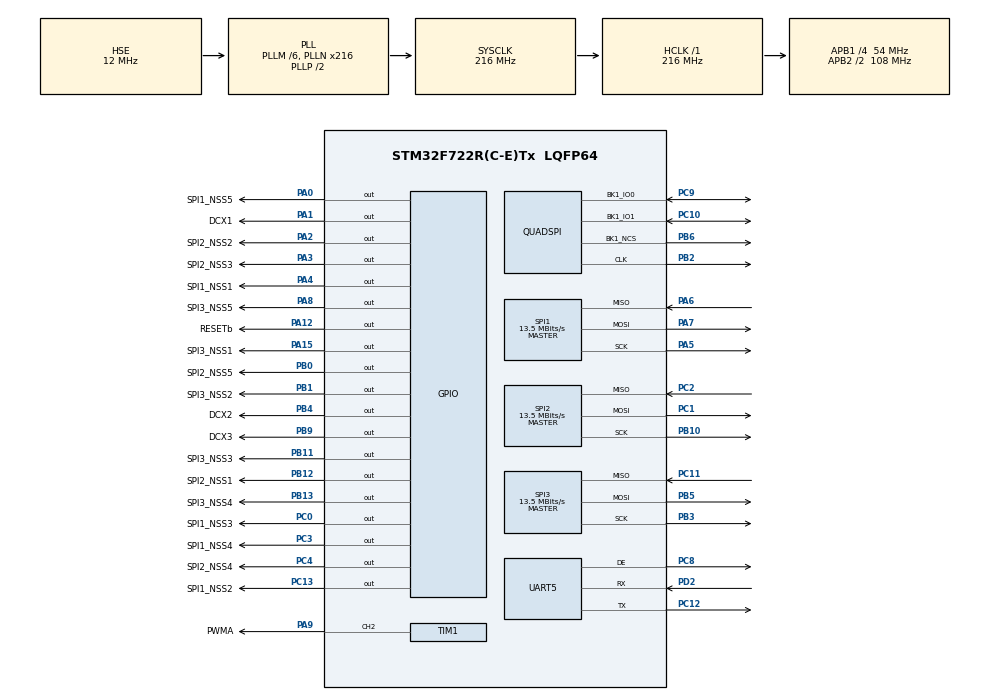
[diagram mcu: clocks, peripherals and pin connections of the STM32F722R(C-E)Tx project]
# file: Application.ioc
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CORTEX_M7.ART_ACCLERATOR_ENABLE=1
CORTEX_M7.CPU_DCache=Enabled
CORTEX_M7.CPU_ICache=Enabled
CORTEX_M7.PREFETCH_ENABLE=1
FREERTOS.Tasks01=TouchgfxTask,24,4096,StartTouchgfxTask,Default,NULL,Dynamic,NULL,NULL
FREERTOS.configTOTAL_HEAP_SIZE=65536
FREERTOS.configUSE_APPLICATION_TASK_TAG=1
FREERTOS.configUSE_IDLE_HOOK=1
FREERTOS.configUSE_NEWLIB_REENTRANT=1
FREERTOS.configUSE_TICK_HOOK=1
Mcu.Family=STM32F7
Mcu.Name=STM32F722R(C-E)Tx
Mcu.Package=LQFP64
NVIC.PriorityGroup=NVIC_PRIORITYGROUP_4
NVIC.SPI1_IRQn=true\:5\:0\:true\:false\:true\:true\:true\:true
NVIC.SPI2_IRQn=true\:5\:0\:false\:false\:true\:true\:true\:true
NVIC.SPI3_IRQn=true\:5\:0\:false\:false\:true\:true\:true\:true
NVIC.TIM6_DAC_IRQn=true\:15\:0\:false\:false\:true\:false\:false\:true
NVIC.TIM7_IRQn=true\:5\:0\:true\:false\:true\:true\:true\:true
NVIC.TIM8_BRK_TIM12_IRQn=true\:5\:0\:false\:false\:true\:true\:true\:true
NVIC.TimeBase=TIM6_DAC_IRQn
NVIC.TimeBaseIP=TIM6
NVIC.UART5_IRQn=true\:5\:0\:false\:false\:true\:true\:true\:true
PA0-WKUP.GPIO_Label=SPI1_NSS5
PA0-WKUP.PinState=GPIO_PIN_SET
PA0-WKUP.Signal=GPIO_Output
PA1.GPIO_Label=DCX1
PA1.Signal=GPIO_Output
PA12.GPIO_Label=RESETb
PA12.Signal=GPIO_Output
PA13.Mode=Serial_Wire
PA13.Signal=SYS_JTMS-SWDIO
PA14.Mode=Serial_Wire
PA14.Signal=SYS_JTCK-SWCLK
PA15.GPIO_Label=SPI3_NSS1
PA15.PinState=GPIO_PIN_SET
PA15.Signal=GPIO_Output
PA2.GPIO_Label=SPI2_NSS2
PA2.PinState=GPIO_PIN_SET
PA2.Signal=GPIO_Output
PA3.GPIO_Label=SPI2_NSS3
PA3.PinState=GPIO_PIN_SET
PA3.Signal=GPIO_Output
PA4.GPIO_Label=SPI1_NSS1
PA4.GPIO_Speed=GPIO_SPEED_FREQ_LOW
PA4.PinState=GPIO_PIN_SET
PA4.Signal=GPIO_Output
PA5.Mode=Full_Duplex_Master
PA5.Signal=SPI1_SCK
PA6.Mode=Full_Duplex_Master
PA6.Signal=SPI1_MISO
PA7.Mode=Full_Duplex_Master
PA7.Signal=SPI1_MOSI
PA8.GPIO_Label=SPI3_NSS5
PA8.PinState=GPIO_PIN_SET
PA8.Signal=GPIO_Output
PA9.GPIO_Label=PWMA
PA9.Signal=S_TIM1_CH2
PB0.GPIO_Label=SPI2_NSS5
PB0.PinState=GPIO_PIN_SET
PB0.Signal=GPIO_Output
PB1.GPIO_Label=SPI3_NSS2
PB1.PinState=GPIO_PIN_SET
PB1.Signal=GPIO_Output
PB10.Mode=Full_Duplex_Master
PB10.Signal=SPI2_SCK
PB11.GPIO_Label=SPI3_NSS3
PB11.PinState=GPIO_PIN_SET
PB11.Signal=GPIO_Output
PB12.GPIO_Label=SPI2_NSS1
PB12.PinState=GPIO_PIN_SET
PB12.Signal=GPIO_Output
PB13.GPIO_Label=SPI3_NSS4
PB13.PinState=GPIO_PIN_SET
PB13.Signal=GPIO_Output
PB2.Mode=Single Bank 1 2IOs
PB2.Signal=QUADSPI_CLK
PB3.Mode=Full_Duplex_Master
PB3.Signal=SPI3_SCK
PB4.GPIO_Label=DCX2
PB4.Signal=GPIO_Output
PB5.Mode=Full_Duplex_Master
PB5.Signal=SPI3_MOSI
PB6.GPIO_FM6=SYSCFG_PMC_I2C_PB6_FMP
PB6.Mode=Single Bank 1 2IOs
PB6.Signal=QUADSPI_BK1_NCS
PB9.GPIO_FM9=SYSCFG_PMC_I2C_PB9_FMP
PB9.GPIO_Label=DCX3
PB9.Signal=GPIO_Output
PC0.GPIO_Label=SPI1_NSS3
PC0.PinState=GPIO_PIN_SET
PC0.Signal=GPIO_Output
PC1.Mode=Full_Duplex_Master
PC1.Signal=SPI2_MOSI
PC10.Mode=Single Bank 1 2IOs
PC10.Signal=QUADSPI_BK1_IO1
PC11.Mode=Full_Duplex_Master
PC11.Signal=SPI3_MISO
PC12.Mode=Asynchronous
PC12.Signal=UART5_TX
PC13.GPIO_Label=SPI1_NSS2
PC13.PinState=GPIO_PIN_SET
PC13.Signal=GPIO_Output
PC14-OSC32_IN.Mode=LSE-External-Oscillator
PC14-OSC32_IN.Signal=RCC_OSC32_IN
PC15-OSC32_OUT.Mode=LSE-External-Oscillator
PC15-OSC32_OUT.Signal=RCC_OSC32_OUT
PC2.Mode=Full_Duplex_Master
PC2.Signal=SPI2_MISO
PC3.GPIO_Label=SPI1_NSS4
PC3.PinState=GPIO_PIN_SET
PC3.Signal=GPIO_Output
PC4.GPIO_Label=SPI2_NSS4
PC4.GPIO_Speed=GPIO_SPEED_FREQ_LOW
PC4.PinState=GPIO_PIN_SET
PC4.Signal=GPIO_Output
PC8.Mode=Hardware Flow Control (RS485)
PC8.Signal=UART5_DE
PC9.Mode=Single Bank 1 2IOs
PC9.Signal=QUADSPI_BK1_IO0
PD2.Mode=Asynchronous
PD2.Signal=UART5_RX
PH0-OSC_IN.Mode=HSE-External-Oscillator
PH0-OSC_IN.Signal=RCC_OSC_IN
PH1-OSC_OUT.Mode=HSE-External-Oscillator
PH1-OSC_OUT.Signal=RCC_OSC_OUT
ProjectManager.HeapSize=0x200
ProjectManager.StackSize=0x400
ProjectManager.TargetToolchain=STM32CubeIDE
QUADSPI.ClockPrescaler=100
QUADSPI.SampleShifting=QSPI_SAMPLE_SHIFTING_NONE
RCC.AHBFreq_Value=216000000
RCC.APB1CLKDivider=RCC_HCLK_DIV4
RCC.APB1Freq_Value=54000000
RCC.APB1TimFreq_Value=108000000
RCC.APB2CLKDivider=RCC_HCLK_DIV2
RCC.APB2Freq_Value=108000000
RCC.APB2TimFreq_Value=216000000
RCC.CortexFreq_Value=216000000
RCC.HCLKFreq_Value=216000000
RCC.HSE_VALUE=12000000
RCC.HSI_VALUE=16000000
RCC.PLLM=6
RCC.PLLN=216
RCC.PLLSourceVirtual=RCC_PLLSOURCE_HSE
RCC.PWREXT_OverDrive=PWREXT_OverDrive_ACTIVATED
RCC.PWR_Regulator_Voltage_Scale=PWR_REGULATOR_VOLTAGE_SCALE1
RCC.SYSCLKFreq_VALUE=216000000
RCC.SYSCLKSource=RCC_SYSCLKSOURCE_PLLCLK
RCC.USBFreq_Value=216000000
RCC.VCOOutputFreq_Value=432000000
SH.S_TIM1_CH2.0=TIM1_CH2,PWM Generation2 CH2
SPI1.BaudRatePrescaler=SPI_BAUDRATEPRESCALER_8
SPI1.CalculateBaudRate=13.5 MBits/s
SPI1.DataSize=SPI_DATASIZE_8BIT
SPI1.Direction=SPI_DIRECTION_2LINES
SPI1.Mode=SPI_MODE_MASTER
SPI1.VirtualType=VM_MASTER
SPI2.BaudRatePrescaler=SPI_BAUDRATEPRESCALER_4
SPI2.CalculateBaudRate=13.5 MBits/s
SPI2.DataSize=SPI_DATASIZE_8BIT
SPI2.Direction=SPI_DIRECTION_2LINES
SPI2.Mode=SPI_MODE_MASTER
SPI2.VirtualType=VM_MASTER
SPI3.BaudRatePrescaler=SPI_BAUDRATEPRESCALER_4
SPI3.CalculateBaudRate=13.5 MBits/s
SPI3.DataSize=SPI_DATASIZE_8BIT
SPI3.Direction=SPI_DIRECTION_2LINES
SPI3.Mode=SPI_MODE_MASTER
SPI3.VirtualType=VM_MASTER
STMicroelectronics.X-CUBE-TOUCHGFX.4.16.1.ApplicationCcGraphicsJjApplication=TouchGFXOoGenerator
STMicroelectronics.X-CUBE-TOUCHGFX.4.16.1.tgfx_buffering_strategy=Partial
STMicroelectronics.X-CUBE-TOUCHGFX.4.16.1.tgfx_custom_height=80
STMicroelectronics.X-CUBE-TOUCHGFX.4.16.1.tgfx_custom_width=160
STMicroelectronics.X-CUBE-TOUCHGFX.4.16.1.tgfx_pixel_format=RGB565\:16
TIM1.Channel-PWM\ Generation2\ CH2=TIM_CHANNEL_2
TIM1.OCPolarity_2=TIM_OCPOLARITY_LOW
TIM1.Period=100-1
TIM1.Prescaler=1080-1
TIM12.Period=65535
TIM7.Period=500-1
TIM7.Prescaler=1800-1
VP_CRC_VS_CRC.Mode=CRC_Activate
VP_FREERTOS_VS_CMSIS_V2.Mode=CMSIS_V2
VP_STMicroelectronics.X-CUBE-TOUCHGFX_VS_GraphicsJjApplication_4.16.1.Mode=GraphicsJjApplication
VP_SYS_VS_tim6.Mode=TIM6
VP_TIM12_VS_ClockSourceINT.Mode=Internal
VP_TIM1_VS_ClockSourceINT.Mode=Internal
VP_TIM7_VS_ClockSourceINT.Mode=Enable_Timer
board=custom

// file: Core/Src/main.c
/* USER CODE BEGIN Header */
/**
  ******************************************************************************
  * @file           : main.c
  * @brief          : Main program body
  ******************************************************************************
  * @attention
  *
  * <h2><center>&copy; Copyright (c) 2022 STMicroelectronics.
  * All rights reserved.</center></h2>
  *
  * This software component is licensed by ST under Ultimate Liberty license
  * SLA0044, the "License"; You may not use this file except in compliance with
  * the License. You may obtain a copy of the License at:
  *                             www.st.com/SLA0044
  *
  ******************************************************************************
  */
/* USER CODE END Header */
#include "main.h"
#include "cmsis_os.h"
#include "app_touchgfx.h"

/* USER CODE BEGIN Includes */
#include "BSP/Panel/ST7735S.h"
#include "ExHardware.h"

/* USER CODE END Includes */

/* USER CODE BEGIN PTD */
extern uint8_t pucByte;
/* USER CODE END PTD */

CRC_HandleTypeDef hcrc;

QSPI_HandleTypeDef hqspi;

SPI_HandleTypeDef hspi1;
SPI_HandleTypeDef hspi2;
SPI_HandleTypeDef hspi3;

TIM_HandleTypeDef htim1;
TIM_HandleTypeDef htim7;
TIM_HandleTypeDef htim12;

UART_HandleTypeDef huart5;

/* Definitions for TouchgfxTask */
osThreadId_t TouchgfxTaskHandle;
const osThreadAttr_t TouchgfxTask_attributes = {
  .name = "TouchgfxTask",
  .stack_size = 4096 * 4,
  .priority = (osPriority_t) osPriorityNormal,
};

void SystemClock_Config(void);
static void MX_GPIO_Init(void);
static void MX_CRC_Init(void);
static void MX_QUADSPI_Init(void);
static void MX_SPI1_Init(void);
static void MX_TIM7_Init(void);
static void MX_TIM12_Init(void);
static void MX_UART5_Init(void);
static void MX_TIM1_Init(void);
static void MX_SPI2_Init(void);
static void MX_SPI3_Init(void);
void StartTouchgfxTask(void *argument);

/* USER CODE BEGIN 0 */

#ifdef __GNUC__
/* With GCC, small printf (option LD Linker->Libraries->Small printf
   set to 'Yes') calls __io_putchar() */
#define PUTCHAR_PROTOTYPE int __io_putchar(int ch)
#else
#define PUTCHAR_PROTOTYPE int fputc(int ch, FILE *f)
#endif /* __GNUC__ */

/**
  * @brief  Retargets the C library printf function to the USART.
  * @param  None
  * @retval None
  */
#if 1
PUTCHAR_PROTOTYPE
{
  /* Place your implementation of fputc here */
  /* e.g. write a character to the EVAL_COM1 and Loop until the end of transmission */
  HAL_UART_Transmit(&huart5, (uint8_t *)&ch, 1, 0xFFFF);

  return ch;
}
#endif

/* USER CODE END 0 */

int main(void)
{

  /* Enable I-Cache---------------------------------------------------------*/
  SCB_EnableICache();

  /* Enable D-Cache---------------------------------------------------------*/
  SCB_EnableDCache();

  /* MCU Configuration--------------------------------------------------------*/

  /* Reset of all peripherals, Initializes the Flash interface and the Systick. */
  HAL_Init();

  /* Configure the system clock */
  SystemClock_Config();

  /* Initialize all configured peripherals */
  MX_GPIO_Init();
  MX_CRC_Init();
  MX_QUADSPI_Init();
  MX_SPI1_Init();
  MX_TIM7_Init();
  MX_TIM12_Init();
  MX_UART5_Init();
  MX_TIM1_Init();
  MX_SPI2_Init();
  MX_SPI3_Init();
  MX_TouchGFX_Init();
  /* USER CODE BEGIN 2 */

  uint8_t test = 6;
  HAL_UART_Receive_IT(&huart5, &pucByte, 1);
  HAL_GPIO_WritePin( GPIOC, GPIO_PIN_8, GPIO_PIN_SET );
  HAL_UART_Transmit(&huart5, &test, 1, 100);
  HAL_GPIO_WritePin( GPIOC, GPIO_PIN_8, GPIO_PIN_RESET );

  /* Output a message on Hyperterminal using printf function */
  printf("UART Printf Example: retarget the C library printf function to the UART\n\r");
  printf("** Test finished successfully. ** \n\r");

  /* USER CODE END 2 */

  /* Init scheduler */
  osKernelInitialize();

  /* Create the thread(s) */
  /* creation of TouchgfxTask */
  TouchgfxTaskHandle = osThreadNew(StartTouchgfxTask, NULL, &TouchgfxTask_attributes);

  /* Start scheduler */
  osKernelStart();

  /* We should never get here as control is now taken by the scheduler */
  /* Infinite loop */
  while (1)
  {

  }
}

void SystemClock_Config(void)
{
  RCC_OscInitTypeDef RCC_OscInitStruct = {0};
  RCC_ClkInitTypeDef RCC_ClkInitStruct = {0};
  RCC_PeriphCLKInitTypeDef PeriphClkInitStruct = {0};

  /** Configure LSE Drive Capability
  */
  HAL_PWR_EnableBkUpAccess();
  /** Configure the main internal regulator output voltage
  */
  __HAL_RCC_PWR_CLK_ENABLE();
  __HAL_PWR_VOLTAGESCALING_CONFIG(PWR_REGULATOR_VOLTAGE_SCALE1);
  /** Initializes the RCC Oscillators according to the specified parameters
  * in the RCC_OscInitTypeDef structure.
  */
  RCC_OscInitStruct.OscillatorType = RCC_OSCILLATORTYPE_HSE;
  RCC_OscInitStruct.HSEState = RCC_HSE_ON;
  RCC_OscInitStruct.PLL.PLLState = RCC_PLL_ON;
  RCC_OscInitStruct.PLL.PLLSource = RCC_PLLSOURCE_HSE;
  RCC_OscInitStruct.PLL.PLLM = 6;
  RCC_OscInitStruct.PLL.PLLN = 216;
  RCC_OscInitStruct.PLL.PLLP = RCC_PLLP_DIV2;
  RCC_OscInitStruct.PLL.PLLQ = 2;
  if (HAL_RCC_OscConfig(&RCC_OscInitStruct) != HAL_OK)
  {
    Error_Handler();
  }
  /** Activate the Over-Drive mode
  */
  if (HAL_PWREx_EnableOverDrive() != HAL_OK)
  {
    Error_Handler();
  }
  /** Initializes the CPU, AHB and APB buses clocks
  */
  RCC_ClkInitStruct.ClockType = RCC_CLOCKTYPE_HCLK|RCC_CLOCKTYPE_SYSCLK
                              |RCC_CLOCKTYPE_PCLK1|RCC_CLOCKTYPE_PCLK2;
  RCC_ClkInitStruct.SYSCLKSource = RCC_SYSCLKSOURCE_PLLCLK;
  RCC_ClkInitStruct.AHBCLKDivider = RCC_SYSCLK_DIV1;
  RCC_ClkInitStruct.APB1CLKDivider = RCC_HCLK_DIV4;
  RCC_ClkInitStruct.APB2CLKDivider = RCC_HCLK_DIV2;

  if (HAL_RCC_ClockConfig(&RCC_ClkInitStruct, FLASH_LATENCY_7) != HAL_OK)
  {
    Error_Handler();
  }
  PeriphClkInitStruct.PeriphClockSelection = RCC_PERIPHCLK_UART5;
  PeriphClkInitStruct.Uart5ClockSelection = RCC_UART5CLKSOURCE_PCLK1;
  if (HAL_RCCEx_PeriphCLKConfig(&PeriphClkInitStruct) != HAL_OK)
  {
    Error_Handler();
  }
}

static void MX_CRC_Init(void)
{

  hcrc.Instance = CRC;
  hcrc.Init.DefaultPolynomialUse = DEFAULT_POLYNOMIAL_ENABLE;
  hcrc.Init.DefaultInitValueUse = DEFAULT_INIT_VALUE_ENABLE;
  hcrc.Init.InputDataInversionMode = CRC_INPUTDATA_INVERSION_NONE;
  hcrc.Init.OutputDataInversionMode = CRC_OUTPUTDATA_INVERSION_DISABLE;
  hcrc.InputDataFormat = CRC_INPUTDATA_FORMAT_BYTES;
  if (HAL_CRC_Init(&hcrc) != HAL_OK)
  {
    Error_Handler();
  }

}

static void MX_QUADSPI_Init(void)
{

  /* QUADSPI parameter configuration*/
  hqspi.Instance = QUADSPI;
  hqspi.Init.ClockPrescaler = 100;
  hqspi.Init.FifoThreshold = 1;
  hqspi.Init.SampleShifting = QSPI_SAMPLE_SHIFTING_NONE;
  hqspi.Init.FlashSize = 1;
  hqspi.Init.ChipSelectHighTime = QSPI_CS_HIGH_TIME_1_CYCLE;
  hqspi.Init.ClockMode = QSPI_CLOCK_MODE_0;
  hqspi.Init.FlashID = QSPI_FLASH_ID_1;
  hqspi.Init.DualFlash = QSPI_DUALFLASH_DISABLE;
  if (HAL_QSPI_Init(&hqspi) != HAL_OK)
  {
    Error_Handler();
  }
  /* USER CODE BEGIN QUADSPI_Init 2 */
  ex_flash_init( );
  /* USER CODE END QUADSPI_Init 2 */

}

static void MX_SPI1_Init(void)
{

  /* SPI1 parameter configuration*/
  hspi1.Instance = SPI1;
  hspi1.Init.Mode = SPI_MODE_MASTER;
  hspi1.Init.Direction = SPI_DIRECTION_2LINES;
  hspi1.Init.DataSize = SPI_DATASIZE_8BIT;
  hspi1.Init.CLKPolarity = SPI_POLARITY_LOW;
  hspi1.Init.CLKPhase = SPI_PHASE_1EDGE;
  hspi1.Init.NSS = SPI_NSS_SOFT;
  hspi1.Init.BaudRatePrescaler = SPI_BAUDRATEPRESCALER_8;
  hspi1.Init.FirstBit = SPI_FIRSTBIT_MSB;
  hspi1.Init.TIMode = SPI_TIMODE_DISABLE;
  hspi1.Init.CRCCalculation = SPI_CRCCALCULATION_DISABLE;
  hspi1.Init.CRCPolynomial = 7;
  hspi1.Init.CRCLength = SPI_CRC_LENGTH_DATASIZE;
  hspi1.Init.NSSPMode = SPI_NSS_PULSE_ENABLE;
  if (HAL_SPI_Init(&hspi1) != HAL_OK)
  {
    Error_Handler();
  }

}

static void MX_SPI2_Init(void)
{

  /* SPI2 parameter configuration*/
  hspi2.Instance = SPI2;
  hspi2.Init.Mode = SPI_MODE_MASTER;
  hspi2.Init.Direction = SPI_DIRECTION_2LINES;
  hspi2.Init.DataSize = SPI_DATASIZE_8BIT;
  hspi2.Init.CLKPolarity = SPI_POLARITY_LOW;
  hspi2.Init.CLKPhase = SPI_PHASE_1EDGE;
  hspi2.Init.NSS = SPI_NSS_SOFT;
  hspi2.Init.BaudRatePrescaler = SPI_BAUDRATEPRESCALER_4;
  hspi2.Init.FirstBit = SPI_FIRSTBIT_MSB;
  hspi2.Init.TIMode = SPI_TIMODE_DISABLE;
  hspi2.Init.CRCCalculation = SPI_CRCCALCULATION_DISABLE;
  hspi2.Init.CRCPolynomial = 7;
  hspi2.Init.CRCLength = SPI_CRC_LENGTH_DATASIZE;
  hspi2.Init.NSSPMode = SPI_NSS_PULSE_ENABLE;
  if (HAL_SPI_Init(&hspi2) != HAL_OK)
  {
    Error_Handler();
  }

}

static void MX_SPI3_Init(void)
{

  /* SPI3 parameter configuration*/
  hspi3.Instance = SPI3;
  hspi3.Init.Mode = SPI_MODE_MASTER;
  hspi3.Init.Direction = SPI_DIRECTION_2LINES;
  hspi3.Init.DataSize = SPI_DATASIZE_8BIT;
  hspi3.Init.CLKPolarity = SPI_POLARITY_LOW;
  hspi3.Init.CLKPhase = SPI_PHASE_1EDGE;
  hspi3.Init.NSS = SPI_NSS_SOFT;
  hspi3.Init.BaudRatePrescaler = SPI_BAUDRATEPRESCALER_4;
  hspi3.Init.FirstBit = SPI_FIRSTBIT_MSB;
  hspi3.Init.TIMode = SPI_TIMODE_DISABLE;
  hspi3.Init.CRCCalculation = SPI_CRCCALCULATION_DISABLE;
  hspi3.Init.CRCPolynomial = 7;
  hspi3.Init.CRCLength = SPI_CRC_LENGTH_DATASIZE;
  hspi3.Init.NSSPMode = SPI_NSS_PULSE_ENABLE;
  if (HAL_SPI_Init(&hspi3) != HAL_OK)
  {
    Error_Handler();
  }

}

static void MX_TIM1_Init(void)
{

  TIM_ClockConfigTypeDef sClockSourceConfig = {0};
  TIM_MasterConfigTypeDef sMasterConfig = {0};
  TIM_OC_InitTypeDef sConfigOC = {0};
  TIM_BreakDeadTimeConfigTypeDef sBreakDeadTimeConfig = {0};

  htim1.Instance = TIM1;
  htim1.Init.Prescaler = 1080-1;
  htim1.Init.CounterMode = TIM_COUNTERMODE_UP;
  htim1.Init.Period = 100-1;
  htim1.Init.ClockDivision = TIM_CLOCKDIVISION_DIV1;
  htim1.Init.RepetitionCounter = 0;
  htim1.Init.AutoReloadPreload = TIM_AUTORELOAD_PRELOAD_DISABLE;
  if (HAL_TIM_Base_Init(&htim1) != HAL_OK)
  {
    Error_Handler();
  }
  sClockSourceConfig.ClockSource = TIM_CLOCKSOURCE_INTERNAL;
  if (HAL_TIM_ConfigClockSource(&htim1, &sClockSourceConfig) != HAL_OK)
  {
    Error_Handler();
  }
  if (HAL_TIM_PWM_Init(&htim1) != HAL_OK)
  {
    Error_Handler();
  }
  sMasterConfig.MasterOutputTrigger = TIM_TRGO_RESET;
  sMasterConfig.MasterOutputTrigger2 = TIM_TRGO2_RESET;
  sMasterConfig.MasterSlaveMode = TIM_MASTERSLAVEMODE_DISABLE;
  if (HAL_TIMEx_MasterConfigSynchronization(&htim1, &sMasterConfig) != HAL_OK)
  {
    Error_Handler();
  }
  sConfigOC.OCMode = TIM_OCMODE_PWM1;
  sConfigOC.Pulse = 0;
  sConfigOC.OCPolarity = TIM_OCPOLARITY_LOW;
  sConfigOC.OCNPolarity = TIM_OCNPOLARITY_HIGH;
  sConfigOC.OCFastMode = TIM_OCFAST_DISABLE;
  sConfigOC.OCIdleState = TIM_OCIDLESTATE_RESET;
  sConfigOC.OCNIdleState = TIM_OCNIDLESTATE_RESET;
  if (HAL_TIM_PWM_ConfigChannel(&htim1, &sConfigOC, TIM_CHANNEL_2) != HAL_OK)
  {
    Error_Handler();
  }
  sBreakDeadTimeConfig.OffStateRunMode = TIM_OSSR_DISABLE;
  sBreakDeadTimeConfig.OffStateIDLEMode = TIM_OSSI_DISABLE;
  sBreakDeadTimeConfig.LockLevel = TIM_LOCKLEVEL_OFF;
  sBreakDeadTimeConfig.DeadTime = 0;
  sBreakDeadTimeConfig.BreakState = TIM_BREAK_DISABLE;
  sBreakDeadTimeConfig.BreakPolarity = TIM_BREAKPOLARITY_HIGH;
  sBreakDeadTimeConfig.BreakFilter = 0;
  sBreakDeadTimeConfig.Break2State = TIM_BREAK2_DISABLE;
  sBreakDeadTimeConfig.Break2Polarity = TIM_BREAK2POLARITY_HIGH;
  sBreakDeadTimeConfig.Break2Filter = 0;
  sBreakDeadTimeConfig.AutomaticOutput = TIM_AUTOMATICOUTPUT_DISABLE;
  if (HAL_TIMEx_ConfigBreakDeadTime(&htim1, &sBreakDeadTimeConfig) != HAL_OK)
  {
    Error_Handler();
  }
  HAL_TIM_MspPostInit(&htim1);

}

static void MX_TIM7_Init(void)
{

  TIM_MasterConfigTypeDef sMasterConfig = {0};

  htim7.Instance = TIM7;
  htim7.Init.Prescaler = 1800-1;
  htim7.Init.CounterMode = TIM_COUNTERMODE_UP;
  htim7.Init.Period = 500-1;
  htim7.Init.AutoReloadPreload = TIM_AUTORELOAD_PRELOAD_DISABLE;
  if (HAL_TIM_Base_Init(&htim7) != HAL_OK)
  {
    Error_Handler();
  }
  sMasterConfig.MasterOutputTrigger = TIM_TRGO_RESET;
  sMasterConfig.MasterSlaveMode = TIM_MASTERSLAVEMODE_DISABLE;
  if (HAL_TIMEx_MasterConfigSynchronization(&htim7, &sMasterConfig) != HAL_OK)
  {
    Error_Handler();
  }
  /* USER CODE BEGIN TIM7_Init 2 */
  HAL_TIM_Base_Start_IT( &htim7 );
  /* USER CODE END TIM7_Init 2 */

}

static void MX_TIM12_Init(void)
{

  TIM_ClockConfigTypeDef sClockSourceConfig = {0};

  htim12.Instance = TIM12;
  htim12.Init.Prescaler = 0;
  htim12.Init.CounterMode = TIM_COUNTERMODE_UP;
  htim12.Init.Period = 65535;
  htim12.Init.ClockDivision = TIM_CLOCKDIVISION_DIV1;
  htim12.Init.AutoReloadPreload = TIM_AUTORELOAD_PRELOAD_DISABLE;
  if (HAL_TIM_Base_Init(&htim12) != HAL_OK)
  {
    Error_Handler();
  }
  sClockSourceConfig.ClockSource = TIM_CLOCKSOURCE_INTERNAL;
  if (HAL_TIM_ConfigClockSource(&htim12, &sClockSourceConfig) != HAL_OK)
  {
    Error_Handler();
  }

}

static void MX_UART5_Init(void)
{

  huart5.Instance = UART5;
  huart5.Init.BaudRate = 115200;
  huart5.Init.WordLength = UART_WORDLENGTH_8B;
  huart5.Init.StopBits = UART_STOPBITS_1;
  huart5.Init.Parity = UART_PARITY_NONE;
  huart5.Init.Mode = UART_MODE_TX_RX;
  huart5.Init.HwFlowCtl = UART_HWCONTROL_NONE;
  huart5.Init.OverSampling = UART_OVERSAMPLING_16;
  huart5.Init.OneBitSampling = UART_ONE_BIT_SAMPLE_DISABLE;
  huart5.AdvancedInit.AdvFeatureInit = UART_ADVFEATURE_NO_INIT;
  if (HAL_RS485Ex_Init(&huart5, UART_DE_POLARITY_HIGH, 0, 0) != HAL_OK)
  {
    Error_Handler();
  }
  /* USER CODE BEGIN UART5_Init 2 */
//  __HAL_UART_ENABLE_IT( &huart5, UART_IT_RXNE );
  HAL_UART_Abort(&huart5);
  /* USER CODE END UART5_Init 2 */

}

static void MX_GPIO_Init(void)
{
  GPIO_InitTypeDef GPIO_InitStruct = {0};

  /* GPIO Ports Clock Enable */
  __HAL_RCC_GPIOC_CLK_ENABLE();
  __HAL_RCC_GPIOH_CLK_ENABLE();
  __HAL_RCC_GPIOA_CLK_ENABLE();
  __HAL_RCC_GPIOB_CLK_ENABLE();
  __HAL_RCC_GPIOD_CLK_ENABLE();

  /*Configure GPIO pin Output Level */
  HAL_GPIO_WritePin(GPIOC, SPI1_NSS2_Pin|SPI1_NSS3_Pin|SPI1_NSS4_Pin|SPI2_NSS4_Pin, GPIO_PIN_SET);

  /*Configure GPIO pin Output Level */
  HAL_GPIO_WritePin(GPIOA, SPI1_NSS5_Pin|SPI2_NSS2_Pin|SPI2_NSS3_Pin|SPI1_NSS1_Pin
                          |SPI3_NSS5_Pin|SPI3_NSS1_Pin, GPIO_PIN_SET);

  /*Configure GPIO pin Output Level */
  HAL_GPIO_WritePin(GPIOA, DCX1_Pin|RESETb_Pin, GPIO_PIN_RESET);

  /*Configure GPIO pin Output Level */
  HAL_GPIO_WritePin(GPIOB, SPI2_NSS5_Pin|SPI3_NSS2_Pin|SPI3_NSS3_Pin|SPI2_NSS1_Pin
                          |SPI3_NSS4_Pin, GPIO_PIN_SET);

  /*Configure GPIO pin Output Level */
  HAL_GPIO_WritePin(GPIOB, DCX2_Pin|DCX3_Pin, GPIO_PIN_RESET);

  /*Configure GPIO pins : SPI1_NSS2_Pin SPI1_NSS3_Pin SPI1_NSS4_Pin SPI2_NSS4_Pin */
  GPIO_InitStruct.Pin = SPI1_NSS2_Pin|SPI1_NSS3_Pin|SPI1_NSS4_Pin|SPI2_NSS4_Pin;
  GPIO_InitStruct.Mode = GPIO_MODE_OUTPUT_PP;
  GPIO_InitStruct.Pull = GPIO_NOPULL;
  GPIO_InitStruct.Speed = GPIO_SPEED_FREQ_LOW;
  HAL_GPIO_Init(GPIOC, &GPIO_InitStruct);

  /*Configure GPIO pins : SPI1_NSS5_Pin DCX1_Pin SPI2_NSS2_Pin SPI2_NSS3_Pin
                           SPI1_NSS1_Pin SPI3_NSS5_Pin RESETb_Pin SPI3_NSS1_Pin */
  GPIO_InitStruct.Pin = SPI1_NSS5_Pin|DCX1_Pin|SPI2_NSS2_Pin|SPI2_NSS3_Pin
                          |SPI1_NSS1_Pin|SPI3_NSS5_Pin|RESETb_Pin|SPI3_NSS1_Pin;
  GPIO_InitStruct.Mode = GPIO_MODE_OUTPUT_PP;
  GPIO_InitStruct.Pull = GPIO_NOPULL;
  GPIO_InitStruct.Speed = GPIO_SPEED_FREQ_LOW;
  HAL_GPIO_Init(GPIOA, &GPIO_InitStruct);

  /*Configure GPIO pins : SPI2_NSS5_Pin SPI3_NSS2_Pin SPI3_NSS3_Pin SPI2_NSS1_Pin
                           SPI3_NSS4_Pin DCX2_Pin DCX3_Pin */
  GPIO_InitStruct.Pin = SPI2_NSS5_Pin|SPI3_NSS2_Pin|SPI3_NSS3_Pin|SPI2_NSS1_Pin
                          |SPI3_NSS4_Pin|DCX2_Pin|DCX3_Pin;
  GPIO_InitStruct.Mode = GPIO_MODE_OUTPUT_PP;
  GPIO_InitStruct.Pull = GPIO_NOPULL;
  GPIO_InitStruct.Speed = GPIO_SPEED_FREQ_LOW;
  HAL_GPIO_Init(GPIOB, &GPIO_InitStruct);

  /*Configure GPIO pins : PB14 PB15 PB7 PB8 */
  GPIO_InitStruct.Pin = GPIO_PIN_14|GPIO_PIN_15|GPIO_PIN_7|GPIO_PIN_8;
  GPIO_InitStruct.Mode = GPIO_MODE_ANALOG;
  GPIO_InitStruct.Pull = GPIO_NOPULL;
  HAL_GPIO_Init(GPIOB, &GPIO_InitStruct);

  /*Configure GPIO pins : PC6 PC7 */
  GPIO_InitStruct.Pin = GPIO_PIN_6|GPIO_PIN_7;
  GPIO_InitStruct.Mode = GPIO_MODE_ANALOG;
  GPIO_InitStruct.Pull = GPIO_NOPULL;
  HAL_GPIO_Init(GPIOC, &GPIO_InitStruct);

  /*Configure GPIO pins : PA10 PA11 */
  GPIO_InitStruct.Pin = GPIO_PIN_10|GPIO_PIN_11;
  GPIO_InitStruct.Mode = GPIO_MODE_ANALOG;
  GPIO_InitStruct.Pull = GPIO_NOPULL;
  HAL_GPIO_Init(GPIOA, &GPIO_InitStruct);

  /**/
  HAL_I2CEx_EnableFastModePlus(SYSCFG_PMC_I2C_PB9_FMP);

}

/* USER CODE BEGIN 4 */

void HAL_SPI_TxCpltCallback(SPI_HandleTypeDef *hspi)
{
	if( hspi->Instance == SPI1 )
	{
		clearTransmitActive( );
    DisplayDriver_TransferCompleteCallback();
	}
}

/* USER CODE END 4 */

void StartTouchgfxTask(void *argument)
{
  /* USER CODE BEGIN 5 */
  Backlight_Control( BL_ON );
  Set_Backlight_Duty( 100 );

  st7735_drv[0].hspi = &hspi1;

  st7735_drv[0].NSS_GPIO_Port = SPI1_NSS1_GPIO_Port;
  st7735_drv[0].NSS_GPIO_Pin  = SPI1_NSS1_Pin;

  st7735_drv[0].DCX_GPIO_Port = DCX1_GPIO_Port;
  st7735_drv[0].DCX_GPIO_Pin  = DCX1_Pin;

  st7735_drv[0].RESET_GPIO_Port = RESETb_GPIO_Port;
  st7735_drv[0].RESET_GPIO_Pin  = RESETb_Pin;

  st7735_drv[0].Init( 0 );
  // ------------------------------------------------

  st7735_drv[1].hspi = &hspi1;

  st7735_drv[1].NSS_GPIO_Port = SPI1_NSS2_GPIO_Port;
  st7735_drv[1].NSS_GPIO_Pin  = SPI1_NSS2_Pin;

  st7735_drv[1].DCX_GPIO_Port = DCX1_GPIO_Port;
  st7735_drv[1].DCX_GPIO_Pin  = DCX1_Pin;

  st7735_drv[1].RESET_GPIO_Port = RESETb_GPIO_Port;
  st7735_drv[1].RESET_GPIO_Pin  = RESETb_Pin;

  st7735_drv[1].Init( 1 );
  // ------------------------------------------------

  st7735_drv[2].hspi = &hspi1;

  st7735_drv[2].NSS_GPIO_Port = SPI1_NSS3_GPIO_Port;
  st7735_drv[2].NSS_GPIO_Pin  = SPI1_NSS3_Pin;

  st7735_drv[2].DCX_GPIO_Port = DCX1_GPIO_Port;
  st7735_drv[2].DCX_GPIO_Pin  = DCX1_Pin;

  st7735_drv[2].RESET_GPIO_Port = RESETb_GPIO_Port;
  st7735_drv[2].RESET_GPIO_Pin  = RESETb_Pin;

  st7735_drv[2].Init( 2 );
  // ------------------------------------------------

  st7735_drv[3].hspi = &hspi1;

  st7735_drv[3].NSS_GPIO_Port = SPI1_NSS4_GPIO_Port;
  st7735_drv[3].NSS_GPIO_Pin  = SPI1_NSS4_Pin;

  st7735_drv[3].DCX_GPIO_Port = DCX1_GPIO_Port;
  st7735_drv[3].DCX_GPIO_Pin  = DCX1_Pin;

  st7735_drv[3].RESET_GPIO_Port = RESETb_GPIO_Port;
  st7735_drv[3].RESET_GPIO_Pin  = RESETb_Pin;

  st7735_drv[3].Init( 3 );
  // ------------------------------------------------

  st7735_drv[4].hspi = &hspi1;

  st7735_drv[4].NSS_GPIO_Port = SPI1_NSS5_GPIO_Port;
  st7735_drv[4].NSS_GPIO_Pin  = SPI1_NSS5_Pin;

  st7735_drv[4].DCX_GPIO_Port = DCX1_GPIO_Port;
  st7735_drv[4].DCX_GPIO_Pin  = DCX1_Pin;

  st7735_drv[4].RESET_GPIO_Port = RESETb_GPIO_Port;
  st7735_drv[4].RESET_GPIO_Pin  = RESETb_Pin;

  st7735_drv[4].Init( 4 );
  // ------------------------------------------------

  st7735_drv[5].hspi = &hspi2;

  st7735_drv[5].NSS_GPIO_Port = SPI2_NSS1_GPIO_Port;
  st7735_drv[5].NSS_GPIO_Pin  = SPI2_NSS1_Pin;

  st7735_drv[5].DCX_GPIO_Port = DCX2_GPIO_Port;
  st7735_drv[5].DCX_GPIO_Pin  = DCX2_Pin;

  st7735_drv[5].RESET_GPIO_Port = RESETb_GPIO_Port;
  st7735_drv[5].RESET_GPIO_Pin  = RESETb_Pin;

  st7735_drv[5].Init( 5 );
  // ------------------------------------------------

  st7735_drv[6].hspi = &hspi2;

  st7735_drv[6].NSS_GPIO_Port = SPI2_NSS2_GPIO_Port;
  st7735_drv[6].NSS_GPIO_Pin  = SPI2_NSS2_Pin;

  st7735_drv[6].DCX_GPIO_Port = DCX2_GPIO_Port;
  st7735_drv[6].DCX_GPIO_Pin  = DCX2_Pin;

  st7735_drv[6].RESET_GPIO_Port = RESETb_GPIO_Port;
  st7735_drv[6].RESET_GPIO_Pin  = RESETb_Pin;

  st7735_drv[6].Init( 6 );
  // ------------------------------------------------

  st7735_drv[7].hspi = &hspi2;

  st7735_drv[7].NSS_GPIO_Port = SPI2_NSS3_GPIO_Port;
  st7735_drv[7].NSS_GPIO_Pin  = SPI2_NSS3_Pin;

  st7735_drv[7].DCX_GPIO_Port = DCX2_GPIO_Port;
  st7735_drv[7].DCX_GPIO_Pin  = DCX2_Pin;

  st7735_drv[7].RESET_GPIO_Port = RESETb_GPIO_Port;
  st7735_drv[7].RESET_GPIO_Pin  = RESETb_Pin;

  st7735_drv[7].Init( 7 );
  // ------------------------------------------------

  st7735_drv[8].hspi = &hspi2;

  st7735_drv[8].NSS_GPIO_Port = SPI2_NSS4_GPIO_Port;
  st7735_drv[8].NSS_GPIO_Pin  = SPI2_NSS4_Pin;

  st7735_drv[8].DCX_GPIO_Port = DCX2_GPIO_Port;
  st7735_drv[8].DCX_GPIO_Pin  = DCX2_Pin;

  st7735_drv[8].RESET_GPIO_Port = RESETb_GPIO_Port;
  st7735_drv[8].RESET_GPIO_Pin  = RESETb_Pin;

  st7735_drv[8].Init( 8 );
  // ------------------------------------------------

  st7735_drv[9].hspi = &hspi2;

  st7735_drv[9].NSS_GPIO_Port = SPI2_NSS5_GPIO_Port;
  st7735_drv[9].NSS_GPIO_Pin  = SPI2_NSS5_Pin;

  st7735_drv[9].DCX_GPIO_Port = DCX2_GPIO_Port;
  st7735_drv[9].DCX_GPIO_Pin  = DCX2_Pin;

  st7735_drv[9].RESET_GPIO_Port = RESETb_GPIO_Port;
  st7735_drv[9].RESET_GPIO_Pin  = RESETb_Pin;

  st7735_drv[9].Init( 9 );
  // ------------------------------------------------

  st7735_drv[10].hspi = &hspi3;

  st7735_drv[10].NSS_GPIO_Port = SPI3_NSS1_GPIO_Port;
  st7735_drv[10].NSS_GPIO_Pin  = SPI3_NSS1_Pin;

  st7735_drv[10].DCX_GPIO_Port = DCX3_GPIO_Port;
  st7735_drv[10].DCX_GPIO_Pin  = DCX3_Pin;

  st7735_drv[10].RESET_GPIO_Port = RESETb_GPIO_Port;
  st7735_drv[10].RESET_GPIO_Pin  = RESETb_Pin;

  st7735_drv[10].Init( 10 );
  // ------------------------------------------------

  st7735_drv[11].hspi = &hspi3;

  st7735_drv[11].NSS_GPIO_Port = SPI3_NSS2_GPIO_Port;
  st7735_drv[11].NSS_GPIO_Pin  = SPI3_NSS2_Pin;

  st7735_drv[11].DCX_GPIO_Port = DCX3_GPIO_Port;
  st7735_drv[11].DCX_GPIO_Pin  = DCX3_Pin;

  st7735_drv[11].RESET_GPIO_Port = RESETb_GPIO_Port;
  st7735_drv[11].RESET_GPIO_Pin  = RESETb_Pin;

  st7735_drv[11].Init( 11 );
  // ------------------------------------------------

  st7735_drv[12].hspi = &hspi3;

  st7735_drv[12].NSS_GPIO_Port = SPI3_NSS3_GPIO_Port;
  st7735_drv[12].NSS_GPIO_Pin  = SPI3_NSS3_Pin;

  st7735_drv[12].DCX_GPIO_Port = DCX3_GPIO_Port;
  st7735_drv[12].DCX_GPIO_Pin  = DCX3_Pin;

  st7735_drv[12].RESET_GPIO_Port = RESETb_GPIO_Port;
  st7735_drv[12].RESET_GPIO_Pin  = RESETb_Pin;

  st7735_drv[12].Init( 12 );
  // ------------------------------------------------

  st7735_drv[13].hspi = &hspi3;

  st7735_drv[13].NSS_GPIO_Port = SPI3_NSS4_GPIO_Port;
  st7735_drv[13].NSS_GPIO_Pin  = SPI3_NSS4_Pin;

  st7735_drv[13].DCX_GPIO_Port = DCX3_GPIO_Port;
  st7735_drv[13].DCX_GPIO_Pin  = DCX3_Pin;

  st7735_drv[13].RESET_GPIO_Port = RESETb_GPIO_Port;
  st7735_drv[13].RESET_GPIO_Pin  = RESETb_Pin;

  st7735_drv[13].Init( 13 );
  // ------------------------------------------------

  st7735_drv[14].hspi = &hspi3;

  st7735_drv[14].NSS_GPIO_Port = SPI3_NSS5_GPIO_Port;
  st7735_drv[14].NSS_GPIO_Pin  = SPI3_NSS5_Pin;

  st7735_drv[14].DCX_GPIO_Port = DCX3_GPIO_Port;
  st7735_drv[14].DCX_GPIO_Pin  = DCX3_Pin;

  st7735_drv[14].RESET_GPIO_Port = RESETb_GPIO_Port;
  st7735_drv[14].RESET_GPIO_Pin  = RESETb_Pin;

  st7735_drv[14].Init( 14 );
  // ------------------------------------------------

  MX_TouchGFX_Process( );
  /* Infinite loop */
  for(;;)
  {
    osDelay(1);
  }
  /* USER CODE END 5 */
}

void HAL_TIM_PeriodElapsedCallback(TIM_HandleTypeDef *htim)
{
  if (htim->Instance == TIM6) {

    HAL_IncTick();
  }
  /* USER CODE BEGIN Callback 1 */
  if (htim->Instance == TIM7) {

	  touchgfxSignalVSync( );

  }
  /* USER CODE END Callback 1 */
}

void Error_Handler(void)
{
  __disable_irq();
  while (1)
  {
  }
}

/************************ (C) COPYRIGHT STMicroelectronics *****END OF FILE****/

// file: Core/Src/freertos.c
/* USER CODE BEGIN Header */
/**
  ******************************************************************************
  * File Name          : freertos.c
  * Description        : Code for freertos applications
  ******************************************************************************
  * @attention
  *
  * <h2><center>&copy; Copyright (c) 2023 STMicroelectronics.
  * All rights reserved.</center></h2>
  *
  * This software component is licensed by ST under Ultimate Liberty license
  * SLA0044, the "License"; You may not use this file except in compliance with
  * the License. You may obtain a copy of the License at:
  *                             www.st.com/SLA0044
  *
  ******************************************************************************
  */
/* USER CODE END Header */

#include "FreeRTOS.h"
#include "task.h"
#include "main.h"

/* Hook prototypes */
void vApplicationIdleHook(void);
void vApplicationTickHook(void);

/* USER CODE BEGIN 2 */
void vApplicationIdleHook( void )
{
   /* vApplicationIdleHook() will only be called if configUSE_IDLE_HOOK is set
   to 1 in FreeRTOSConfig.h. It will be called on each iteration of the idle
   task. It is essential that code added to this hook function never attempts
   to block in any way (for example, call xQueueReceive() with a block time
   specified, or call vTaskDelay()). If the application makes use of the
   vTaskDelete() API function (as this demo application does) then it is also
   important that vApplicationIdleHook() is permitted to return to its calling
   function, because it is the responsibility of the idle task to clean up
   memory allocated by the kernel to any task that has since been deleted. */
}
/* USER CODE END 2 */

/* USER CODE BEGIN 3 */
void vApplicationTickHook( void )
{
   /* This function will be called by each tick interrupt if
   configUSE_TICK_HOOK is set to 1 in FreeRTOSConfig.h. User code can be
   added here, but the tick hook is called from an interrupt context, so
   code must not attempt to block, and only the interrupt safe FreeRTOS API
   functions can be used (those that end in FromISR()). */
}
/* USER CODE END 3 */

/************************ (C) COPYRIGHT STMicroelectronics *****END OF FILE****/
